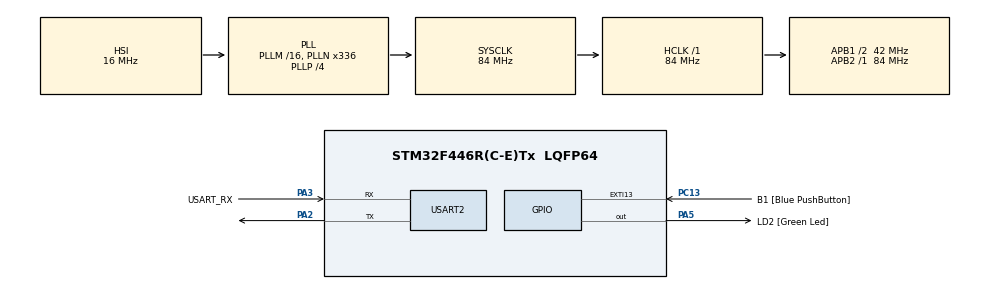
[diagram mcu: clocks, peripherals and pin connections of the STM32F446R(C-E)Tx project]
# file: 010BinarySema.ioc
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Mcu.Family=STM32F4
Mcu.Name=STM32F446R(C-E)Tx
Mcu.Package=LQFP64
NVIC.EXTI15_10_IRQn=true\:0\:0\:false\:false\:true\:true\:true
NVIC.PriorityGroup=NVIC_PRIORITYGROUP_4
PA13.GPIO_Label=TMS
PA13.Signal=SYS_JTMS-SWDIO
PA14.GPIO_Label=TCK
PA14.Signal=SYS_JTCK-SWCLK
PA2.Mode=Asynchronous
PA2.Signal=USART2_TX
PA3.GPIO_Label=USART_RX
PA3.Mode=Asynchronous
PA3.Signal=USART2_RX
PA5.GPIO_Label=LD2 [Green Led]
PA5.Signal=GPIO_Output
PB3.GPIO_Label=SWO
PB3.Signal=SYS_JTDO-SWO
PC13.GPIO_Label=B1 [Blue PushButton]
PC13.GPIO_ModeDefaultEXTI=GPIO_MODE_IT_FALLING
PC13.Signal=GPXTI13
PC14-OSC32_IN.Signal=RCC_OSC32_IN
PC15-OSC32_OUT.Signal=RCC_OSC32_OUT
PH0-OSC_IN.Signal=RCC_OSC_IN
PH1-OSC_OUT.Signal=RCC_OSC_OUT
ProjectManager.HeapSize=0x200
ProjectManager.StackSize=0x400
ProjectManager.TargetToolchain=STM32CubeIDE
RCC.AHBFreq_Value=84000000
RCC.APB1CLKDivider=RCC_HCLK_DIV2
RCC.APB1Freq_Value=42000000
RCC.APB1TimFreq_Value=84000000
RCC.APB2Freq_Value=84000000
RCC.APB2TimFreq_Value=84000000
RCC.CortexFreq_Value=84000000
RCC.FLatency-AdvancedSettings=FLASH_LATENCY_2
RCC.HCLKFreq_Value=84000000
RCC.HSE_VALUE=8000000
RCC.HSI_VALUE=16000000
RCC.LSE_VALUE=32768
RCC.PLLN=336
RCC.PLLP=RCC_PLLP_DIV4
RCC.SYSCLKFreq_VALUE=84000000
RCC.SYSCLKSource=RCC_SYSCLKSOURCE_PLLCLK
RCC.USBFreq_Value=168000000
RCC.VCOOutputFreq_Value=336000000
USART2.VirtualMode=VM_ASYNC
board=NUCLEO-F446RE

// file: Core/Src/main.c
/* USER CODE BEGIN Header */

/**

******************************************************************************

* @file : main.c

* @brief : Main program body

******************************************************************************

* @attention

*

* <h2><center>&copy; Copyright (c) 2021 STMicroelectronics.

* All rights reserved.</center></h2>

*

* This software component is licensed by ST under BSD 3-Clause license,

* the "License"; You may not use this file except in compliance with the

* License. You may obtain a copy of the License at:

* opensource.org/licenses/BSD-3-Clause

*

******************************************************************************

*/

/* USER CODE END Header */
#include "main.h"

/* USER CODE BEGIN Includes */

#include <stdio.h>

#include <stdlib.h>

#include <string.h>

#include "FreeRTOS.h"

#include "task.h"

#include "queue.h"

#include "semphr.h"

#include "SEGGER_SYSVIEW.h"

/* USER CODE END Includes */

/* USER CODE BEGIN PD */

#define DWT_CTRL (*(volatile uint32_t* )0xE0001000)

/* USER CODE END PD */

UART_HandleTypeDef huart2;

/* USER CODE BEGIN PV */

TaskHandle_t handle_manager_task;

TaskHandle_t handle_employee_task;

QueueHandle_t xWorkQueue;

xSemaphoreHandle xWork;

/* USER CODE END PV */

void SystemClock_Config(void);
static void MX_GPIO_Init(void);
static void MX_USART2_UART_Init(void);
/* USER CODE BEGIN PFP */

extern void SEGGER_UART_init(U32 baud);

void employee_task_handler( void * pvParameters);

void manager_task_handler( void * pvParameters);

void printmsg(char *msg);

/* USER CODE END PFP */

/* USER CODE BEGIN 0 */
/* Declare a variable of type xSemaphoreHandle.  This is used to reference the
mutex type semaphore that is used to ensure mutual exclusive access to UART. */
xSemaphoreHandle xMutex;

/* USER CODE END 0 */

int main(void)
{
  /* USER CODE BEGIN 1 */

BaseType_t status;

char usrmsg[250];

  /* USER CODE END 1 */

  /* MCU Configuration--------------------------------------------------------*/

  /* Reset of all peripherals, Initializes the Flash interface and the Systick. */
  HAL_Init();

  /* USER CODE BEGIN Init */

//Enable CYCCNT Counter

DWT_CTRL|=(1<<0);

SEGGER_UART_init(500000);

SEGGER_SYSVIEW_Conf();

//SEGGER_SYSVIEW_Start(); //Do not uncomment if SEGGER_UART_init is used.

  /* USER CODE END Init */

  /* Configure the system clock */
  SystemClock_Config();

  /* Initialize all configured peripherals */
  MX_GPIO_Init();
  MX_USART2_UART_Init();
  /* USER CODE BEGIN 2 */

//sprintf(usrmsg,"Demo of Binary semaphore usage between 2 Tasks \r\n");
//
//printmsg(usrmsg);

  /* Before a semaphore is used it must be explicitly created.  In this example
	a mutex type semaphore is created. */
  xMutex = xSemaphoreCreateMutex();
	status= xTaskCreate(manager_task_handler, "manager", 200,NULL,3, &handle_manager_task);
	configASSERT(status==pdPASS);

	status= xTaskCreate(employee_task_handler, "employee", 200,NULL,3, &handle_employee_task);
	configASSERT(status==pdPASS);

	vTaskStartScheduler();

  /* USER CODE END 2 */

  /* Infinite loop */
	while (1)
	{

	}
}

void SystemClock_Config(void)
{
  RCC_OscInitTypeDef RCC_OscInitStruct = {0};
  RCC_ClkInitTypeDef RCC_ClkInitStruct = {0};

  /** Configure the main internal regulator output voltage
  */
  __HAL_RCC_PWR_CLK_ENABLE();
  __HAL_PWR_VOLTAGESCALING_CONFIG(PWR_REGULATOR_VOLTAGE_SCALE3);
  /** Initializes the RCC Oscillators according to the specified parameters
  * in the RCC_OscInitTypeDef structure.
  */
  RCC_OscInitStruct.OscillatorType = RCC_OSCILLATORTYPE_HSI;
  RCC_OscInitStruct.HSIState = RCC_HSI_ON;
  RCC_OscInitStruct.HSICalibrationValue = RCC_HSICALIBRATION_DEFAULT;
  RCC_OscInitStruct.PLL.PLLState = RCC_PLL_ON;
  RCC_OscInitStruct.PLL.PLLSource = RCC_PLLSOURCE_HSI;
  RCC_OscInitStruct.PLL.PLLM = 16;
  RCC_OscInitStruct.PLL.PLLN = 336;
  RCC_OscInitStruct.PLL.PLLP = RCC_PLLP_DIV4;
  RCC_OscInitStruct.PLL.PLLQ = 2;
  RCC_OscInitStruct.PLL.PLLR = 2;
  if (HAL_RCC_OscConfig(&RCC_OscInitStruct) != HAL_OK)
  {
    Error_Handler();
  }
  /** Initializes the CPU, AHB and APB buses clocks
  */
  RCC_ClkInitStruct.ClockType = RCC_CLOCKTYPE_HCLK|RCC_CLOCKTYPE_SYSCLK
                              |RCC_CLOCKTYPE_PCLK1|RCC_CLOCKTYPE_PCLK2;
  RCC_ClkInitStruct.SYSCLKSource = RCC_SYSCLKSOURCE_PLLCLK;
  RCC_ClkInitStruct.AHBCLKDivider = RCC_SYSCLK_DIV1;
  RCC_ClkInitStruct.APB1CLKDivider = RCC_HCLK_DIV2;
  RCC_ClkInitStruct.APB2CLKDivider = RCC_HCLK_DIV1;

  if (HAL_RCC_ClockConfig(&RCC_ClkInitStruct, FLASH_LATENCY_2) != HAL_OK)
  {
    Error_Handler();
  }
}

static void MX_USART2_UART_Init(void)
{

  huart2.Instance = USART2;
  huart2.Init.BaudRate = 115200;
  huart2.Init.WordLength = UART_WORDLENGTH_8B;
  huart2.Init.StopBits = UART_STOPBITS_1;
  huart2.Init.Parity = UART_PARITY_NONE;
  huart2.Init.Mode = UART_MODE_TX_RX;
  huart2.Init.HwFlowCtl = UART_HWCONTROL_NONE;
  huart2.Init.OverSampling = UART_OVERSAMPLING_16;
  if (HAL_UART_Init(&huart2) != HAL_OK)
  {
    Error_Handler();
  }

}

static void MX_GPIO_Init(void)
{
  GPIO_InitTypeDef GPIO_InitStruct = {0};

  /* GPIO Ports Clock Enable */
  __HAL_RCC_GPIOC_CLK_ENABLE();
  __HAL_RCC_GPIOH_CLK_ENABLE();
  __HAL_RCC_GPIOA_CLK_ENABLE();
  __HAL_RCC_GPIOB_CLK_ENABLE();

  /*Configure GPIO pin Output Level */
  HAL_GPIO_WritePin(LD2_GPIO_Port, LD2_Pin, GPIO_PIN_RESET);

  /*Configure GPIO pin : B1_Pin */
  GPIO_InitStruct.Pin = B1_Pin;
  GPIO_InitStruct.Mode = GPIO_MODE_IT_FALLING;
  GPIO_InitStruct.Pull = GPIO_NOPULL;
  HAL_GPIO_Init(B1_GPIO_Port, &GPIO_InitStruct);

  /*Configure GPIO pin : LD2_Pin */
  GPIO_InitStruct.Pin = LD2_Pin;
  GPIO_InitStruct.Mode = GPIO_MODE_OUTPUT_PP;
  GPIO_InitStruct.Pull = GPIO_NOPULL;
  GPIO_InitStruct.Speed = GPIO_SPEED_FREQ_LOW;
  HAL_GPIO_Init(LD2_GPIO_Port, &GPIO_InitStruct);

  /* EXTI interrupt init*/
  HAL_NVIC_SetPriority(EXTI15_10_IRQn, 0, 0);
  HAL_NVIC_EnableIRQ(EXTI15_10_IRQn);

}

/* USER CODE BEGIN 4 */

void manager_task_handler( void * pvParameters)

{

	char usrmsg[250];

	while(1)

	{
		xSemaphoreTake( xMutex, portMAX_DELAY );
		{
			taskENTER_CRITICAL();
			sprintf(usrmsg,"Hi From Manager 12345678987654321\r\n");
			taskEXIT_CRITICAL();
			printmsg(usrmsg);
			vTaskDelay(500);
		}
		xSemaphoreGive( xMutex );
//				taskYIELD();
	}

}

void employee_task_handler( void * pvParameters)
{
	char usrmsg[250];
	while(1)

	{
		xSemaphoreTake( xMutex, portMAX_DELAY );
		{
			taskENTER_CRITICAL();
			sprintf(usrmsg,"Hi From employee 12345678987654321\r\n");
			taskEXIT_CRITICAL();
			printmsg(usrmsg);
			vTaskDelay(500);
	}
	xSemaphoreGive( xMutex );
//				taskYIELD();
	}

}

	void printmsg(char *msg)

	{

		HAL_UART_Transmit(&huart2, (uint8_t*)msg, strlen((char*)msg),100);

	}

	/* USER CODE END 4 */

void Error_Handler(void)
{
  __disable_irq();
  while (1)
  {
  }
}
